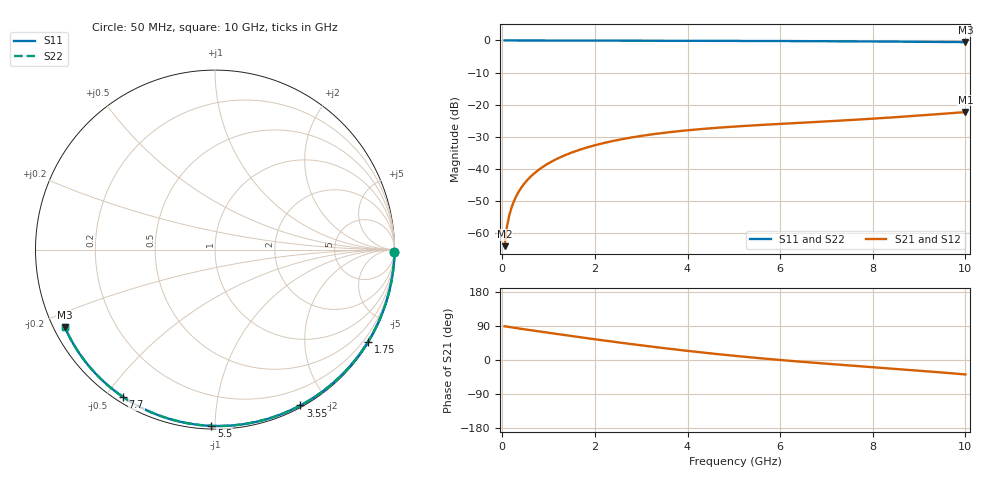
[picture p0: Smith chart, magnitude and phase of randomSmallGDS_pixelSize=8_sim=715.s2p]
! freq	dB(S11)	phase(S11)	dB(S12)	phase(S12)
!  dB(S21)	phase(S21)	dB(S22)	phase(S22)
!S-par simulation data
#  GHz  S  DB  R 50
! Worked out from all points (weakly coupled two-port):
!   200 points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, 50 MHz to 10 GHz, reference 50 ohm
!   highest |S21| = -22.27 dB at 10 GHz (marker M1); lowest = -64.0 dB at 50 MHz (marker M2)
!   lowest |S11| = -0.5 dB at 10 GHz (marker M3), VSWR 33.47, Z = 1.58 - j12.2 ohm
!   |S11| at or under -10 dB: nowhere
!   |S22| runs from -0.5 to 0.0 dB; largest |S21 - S12| = 0
!   S11 on the Smith chart (normalised r, x): 50 MHz: open; 1.75 GHz: 0.03, -3.59; 3.55 GHz: 0.02, -1.69; 5.5 GHz: 0.02, -0.98; 7.7 GHz: 0.02, -0.55; 10 GHz: 0.03, -0.24
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0.05  -0.00 -0.9  -63.96 89.0  -63.96 89.0  -0.00 -0.9
0.1  -0.00 -1.8  -57.94 88.0  -57.94 88.0  -0.00 -1.8
0.15  -0.00 -2.7  -54.43 87.0  -54.43 87.0  -0.00 -2.7
0.2  -0.00 -3.6  -51.94 86.1  -51.94 86.1  -0.00 -3.6
0.25  -0.00 -4.5  -50.01 85.1  -50.01 85.1  -0.00 -4.5
0.35  -0.00 -6.3  -47.12 83.3  -47.12 83.3  -0.00 -6.3
0.5  -0.01 -9.0  -44.06 80.6  -44.06 80.6  -0.01 -9.0
0.7  -0.01 -12.6  -41.20 77.1  -41.20 77.1  -0.01 -12.6
1  -0.02 -18.0  -38.19 71.8  -38.19 71.8  -0.02 -17.9
1.35  -0.03 -24.1  -35.70 65.7  -35.70 65.7  -0.03 -24.1
1.75  -0.04 -31.1  -33.62 58.9  -33.62 58.9  -0.04 -31.1
2.5  -0.06 -44.0  -30.93 46.5  -30.93 46.5  -0.06 -44.0
3.4  -0.08 -58.9  -28.88 32.6  -28.88 32.6  -0.08 -58.9
3.55  -0.09 -61.3  -28.62 30.4  -28.62 30.4  -0.09 -61.3
4.3  -0.11 -73.1  -27.54 20.0  -27.54 20.0  -0.11 -73.1
5.05  -0.14 -84.6  -26.74 10.6  -26.74 10.6  -0.14 -84.5
5.5  -0.15 -91.2  -26.34 5.4  -26.34 5.4  -0.15 -91.2
6.7  -0.22 -108.3  -25.40 -7.0  -25.40 -7.0  -0.22 -108.3
7.7  -0.29 -122.0  -24.59 -16.2  -24.59 -16.2  -0.29 -121.9
8.35  -0.34 -130.7  -23.99 -22.0  -23.99 -22.0  -0.34 -130.6
9.2  -0.42 -141.9  -23.13 -30.1  -23.13 -30.1  -0.42 -141.9
10  -0.52 -152.6  -22.27 -38.1  -22.27 -38.1  -0.52 -152.6
